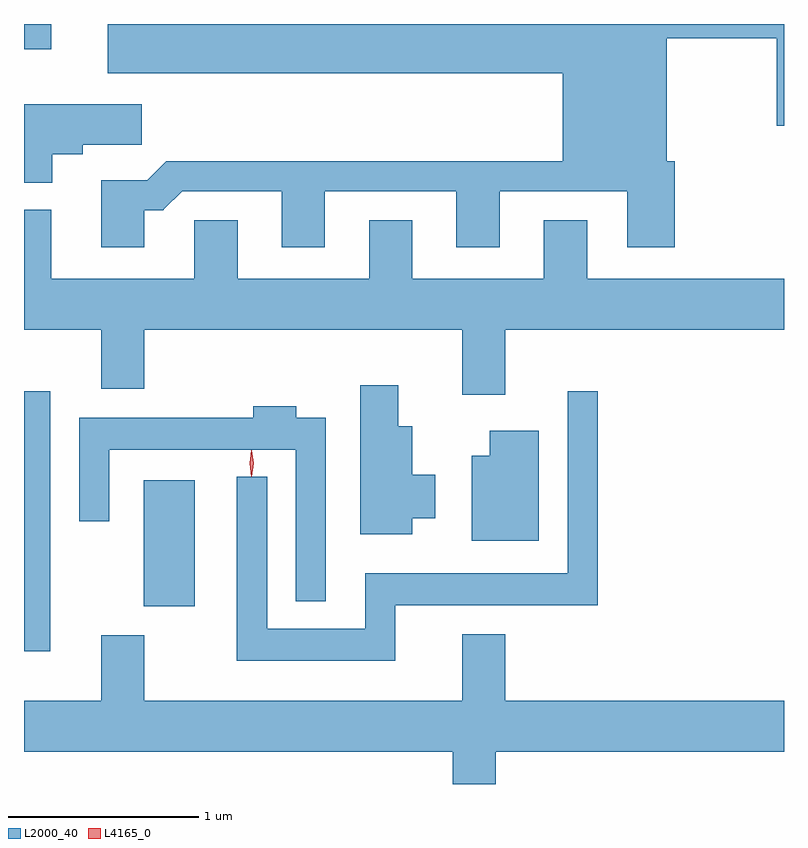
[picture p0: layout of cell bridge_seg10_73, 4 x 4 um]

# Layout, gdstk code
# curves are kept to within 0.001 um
import gdstk
lib = gdstk.Library(unit=1e-6, precision=1e-09)
def R(c, l, rs):  # rectangles x0, y0, x1, y1
    for r in rs: c.add(gdstk.rectangle(r[:2], r[2:], *l))
def P(c, l, *ps):  # polygons
    for p in ps: c.add(gdstk.Polygon(p, *l))
L2000_40 = (2000, 40)
L4165_0 = (4165, 0)

bridge_seg10_73 = lib.new_cell('bridge_seg10_73')
R(bridge_seg10_73, L2000_40, [(1584.745,2207.686,1584.884,2209.053), (1585.376,2207.921,1585.644,2208.584), (1584.745,2210.853,1584.889,2210.986)])
P(bridge_seg10_73, L2000_40, [(1585.379,2210.006),(1585.477,2210.006),(1585.577,2210.106),(1586.101,2210.106),(1586.101,2209.811),(1586.329,2209.811),(1586.329,2210.106),(1587.021,2210.106),(1587.021,2209.811),(1587.249,2209.811),(1587.249,2210.106),(1587.921,2210.106),(1587.921,2209.811),(1588.169,2209.811),(1588.169,2210.264),(1588.129,2210.264),(1588.129,2210.911),(1588.706,2210.911),(1588.706,2210.451),(1588.745,2210.451),(1588.745,2210.986),(1585.186,2210.986),(1585.186,2210.726),(1587.581,2210.726),(1587.581,2210.264),(1585.494,2210.264),(1585.394,2210.164),(1585.151,2210.164),(1585.151,2209.811),(1585.379,2209.811)],
  [(1584.894,2210.301),(1585.054,2210.301),(1585.054,2210.351),(1585.364,2210.351),(1585.364,2210.564),(1584.745,2210.564),(1584.745,2210.151),(1584.894,2210.151)],
  [(1587.279,2209.376),(1588.745,2209.376),(1588.745,2209.644),(1587.709,2209.644),(1587.709,2209.954),(1587.481,2209.954),(1587.481,2209.644),(1586.789,2209.644),(1586.789,2209.954),(1586.561,2209.954),(1586.561,2209.644),(1585.869,2209.644),(1585.869,2209.954),(1585.641,2209.954),(1585.641,2209.644),(1584.889,2209.644),(1584.889,2210.008),(1584.745,2210.008),(1584.745,2209.376),(1585.151,2209.376),(1585.151,2209.066),(1585.379,2209.066),(1585.379,2209.376),(1587.051,2209.376),(1587.051,2209.036),(1587.279,2209.036)],
  [(1586.789,2208.386),(1586.909,2208.386),(1586.909,2208.614),(1586.789,2208.614),(1586.789,2208.869),(1586.714,2208.869),(1586.714,2209.084),(1586.516,2209.084),(1586.516,2208.301),(1586.789,2208.301)],
  [(1586.699,2207.926),(1587.764,2207.926),(1587.764,2209.053),(1587.606,2209.053),(1587.606,2208.094),(1586.541,2208.094),(1586.541,2207.804),(1586.024,2207.804),(1586.024,2208.603),(1585.866,2208.603),(1585.866,2207.636),(1586.699,2207.636)],
  [(1586.334,2208.914),(1586.179,2208.914),(1586.179,2208.974),(1585.951,2208.974),(1585.951,2208.914),(1585.036,2208.914),(1585.036,2208.368),(1585.194,2208.368),(1585.194,2208.746),(1586.176,2208.746),(1586.176,2207.948),(1586.334,2207.948)],
  [(1587.454,2208.844),(1587.196,2208.844),(1587.196,2208.714),(1587.101,2208.714),(1587.101,2208.266),(1587.454,2208.266)],
  [(1587.229,2207.156),(1588.745,2207.156),(1588.745,2207.424),(1587.279,2207.424),(1587.279,2207.774),(1587.051,2207.774),(1587.051,2207.424),(1585.379,2207.424),(1585.379,2207.769),(1585.151,2207.769),(1585.151,2207.424),(1584.745,2207.424),(1584.745,2207.156),(1587.001,2207.156),(1587.001,2206.986),(1587.229,2206.986)])
P(bridge_seg10_73, L4165_0, [(1585.942,2208.604),(1585.933,2208.673),(1585.942,2208.742),(1585.943,2208.743),(1585.944,2208.742),(1585.953,2208.673),(1585.944,2208.604),(1585.943,2208.604)])

lib.write_gds('bridge_seg10_73.gds')
